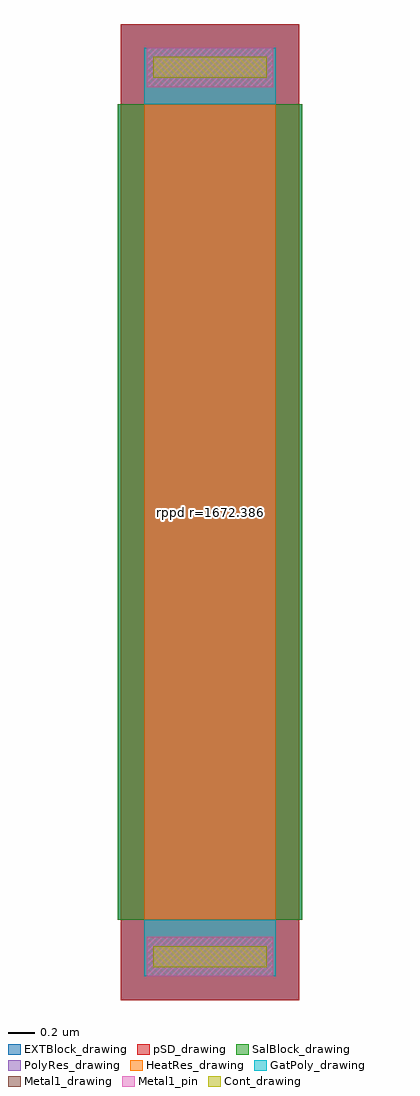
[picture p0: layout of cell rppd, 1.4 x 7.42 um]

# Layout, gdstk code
import gdstk
lib = gdstk.Library(unit=1e-6, precision=1e-09)
def R(c, l, rs):  # rectangles x0, y0, x1, y1
    for r in rs: c.add(gdstk.rectangle(r[:2], r[2:], *l))
GatPoly_drawing = (5, 0)
Cont_drawing = (6, 0)
Metal1_drawing = (8, 0)
Metal1_pin = (8, 2)
pSD_drawing = (14, 0)
SalBlock_drawing = (28, 0)
HeatRes_drawing = (52, 0)
EXTBlock_drawing = (111, 0)
PolyRes_drawing = (128, 0)

rppd = lib.new_cell('rppd')
R(rppd, GatPoly_drawing, [(0,-0.43,1,-0.2), (0,-0.2,1,0), (0,6.2,1,6.4), (0,6.4,1,6.63)])
R(rppd, Cont_drawing, [(0.07,-0.36,0.93,-0.2), (0.07,6.4,0.93,6.56)])
R(rppd, Metal1_drawing, [(0.02,-0.43,0.98,-0.13), (0.02,6.33,0.98,6.63)])
R(rppd, Metal1_pin, [(0.02,-0.43,0.98,-0.13), (0.02,6.33,0.98,6.63)])
R(rppd, pSD_drawing, [(-0.18,-0.61,1.18,0), (-0.18,0,1.18,6.2), (-0.18,6.2,1.18,6.81)])
R(rppd, SalBlock_drawing, [(-0.2,0,1.2,6.2)])
R(rppd, HeatRes_drawing, [(0,0,1,6.2)])
R(rppd, EXTBlock_drawing, [(-0.18,-0.61,1.18,0), (-0.2,0,1.2,6.2), (-0.18,6.2,1.18,6.81)])
R(rppd, PolyRes_drawing, [(0,0,1,6.2)])
rppd.add(gdstk.Label('rppd r=1672.386', (0.5,3.1), layer=63, texttype=0))
rppd.add(gdstk.Label('rppd', (0.5,3.1), layer=52, texttype=0))

lib.write_gds('rppd.gds')
